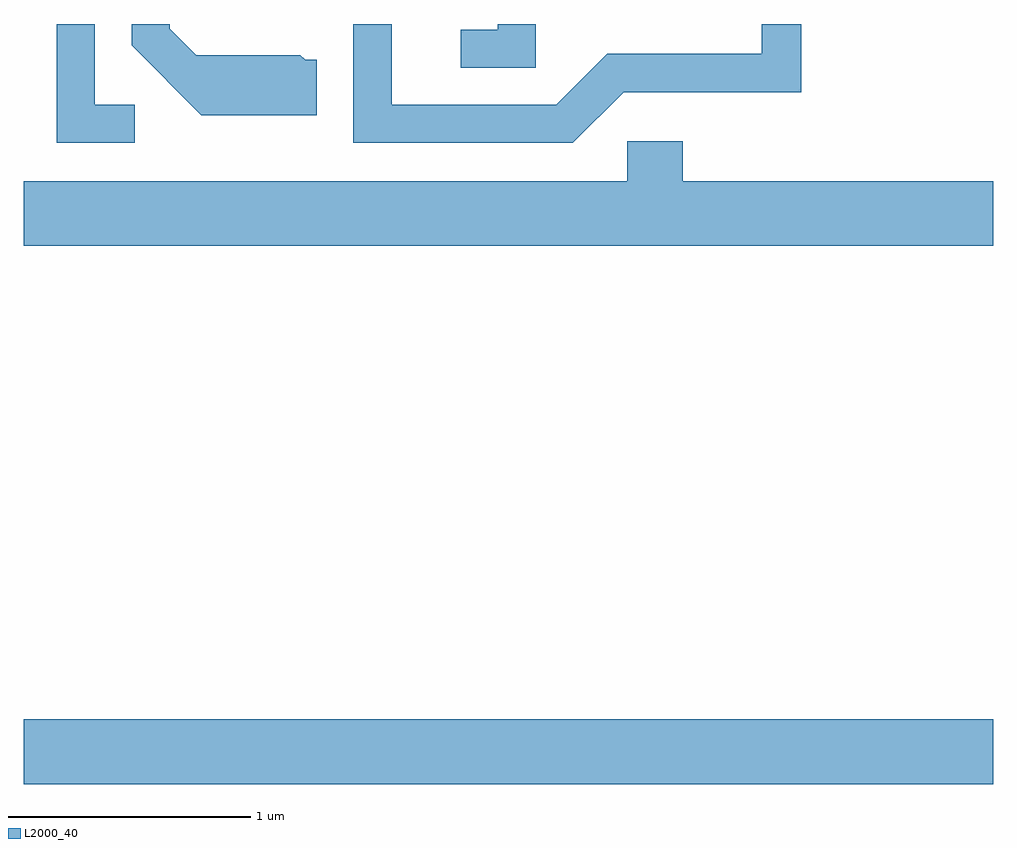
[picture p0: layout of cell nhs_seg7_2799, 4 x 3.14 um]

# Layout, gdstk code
import gdstk
lib = gdstk.Library(unit=1e-6, precision=1e-09)
def R(c, l, rs):  # rectangles x0, y0, x1, y1
    for r in rs: c.add(gdstk.rectangle(r[:2], r[2:], *l))
def P(c, l, *ps):  # polygons
    for p in ps: c.add(gdstk.Polygon(p, *l))
L2000_40 = (2000, 40)

nhs_seg7_2799 = lib.new_cell('nhs_seg7_2799')
R(nhs_seg7_2799, L2000_40, [(269.611,1803.116,273.611,1803.384)])
P(nhs_seg7_2799, L2000_40, [(270.819,1806.104),(270.772,1806.104),(270.752,1806.124),(270.322,1806.124),(270.214,1806.232),(270.214,1806.252),(270.056,1806.252),(270.056,1806.164),(270.344,1805.876),(270.819,1805.876)],
  [(270.068,1805.919),(269.904,1805.919),(269.904,1806.252),(269.746,1806.252),(269.746,1805.761),(270.068,1805.761)],
  [(272.087,1805.971),(272.819,1805.971),(272.819,1806.252),(272.656,1806.252),(272.656,1806.129),(272.019,1806.129),(271.809,1805.919),(271.129,1805.919),(271.129,1806.252),(270.971,1806.252),(270.971,1805.761),(271.877,1805.761)],
  [(271.724,1806.252),(271.566,1806.252),(271.566,1806.229),(271.413,1806.229),(271.413,1806.071),(271.724,1806.071)],
  [(273.611,1805.604),(272.329,1805.604),(272.329,1805.769),(272.101,1805.769),(272.101,1805.604),(269.611,1805.604),(269.611,1805.336),(273.611,1805.336)])

lib.write_gds('nhs_seg7_2799.gds')
